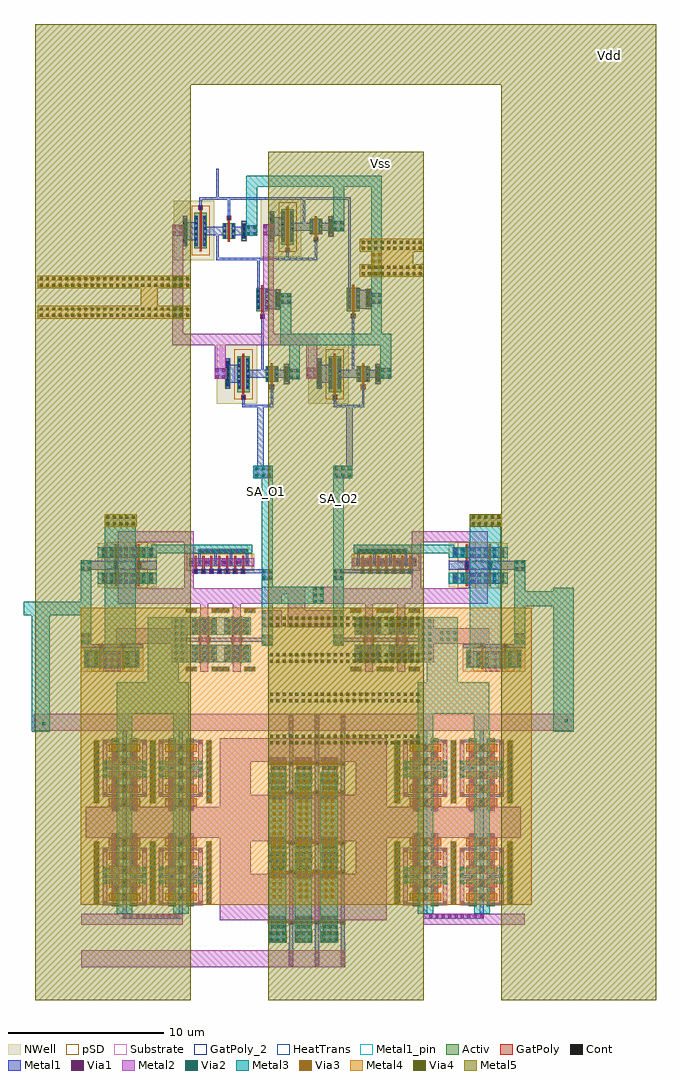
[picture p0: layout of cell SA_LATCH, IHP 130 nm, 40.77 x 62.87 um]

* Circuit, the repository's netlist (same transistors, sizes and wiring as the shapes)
** sch_path: /workspaces/usm-vlsi-tools/shared_xserver/proyecto-IPD413/klayout/LVS/SA_LATCH.sch
.subckt SA_LATCH

M4 Q SA_O1 SA_O2 Vss sg13_lv_nmos l=0.13u w=2.0u ng=2 m=4
M6 SA_O2 SA_O1 Vdd Vdd sg13_lv_pmos l=0.13u w=3.5u ng=7 m=1
M11 SA_O2 CLK Vdd Vdd sg13_lv_pmos l=0.13u w=0.7u ng=1 m=4
M9 Q CLK Vdd Vdd sg13_lv_pmos l=0.13u w=1.0u ng=1 m=2
M3 P SA_O2 SA_O1 Vss sg13_lv_nmos l=0.13u w=2.0u ng=2 m=4
M5 SA_O1 SA_O2 Vdd Vdd sg13_lv_pmos l=0.13u w=3.5u ng=7 m=1
M10 SA_O1 CLK Vdd Vdd sg13_lv_pmos l=0.13u w=0.7u ng=1 m=4
M8 P CLK Vdd Vdd sg13_lv_pmos l=0.13u w=1.0u ng=1 m=2
M1 P Vin1 common Vss sg13_lv_nmos l=0.5u w=2.5u ng=5 m=8
M2 Vss CLK common Vss sg13_lv_nmos l=0.13u w=1.0u ng=1 m=15
M7 Q Vin2 common Vss sg13_lv_nmos l=0.5u w=2.5u ng=5 m=8
x2 Vdd OUT_Latch Vss SA_O1 SA_O2 inv_latch
.ends

* expanding   symbol:  /workspaces/usm-vlsi-tools/shared_xserver/proyecto-IPD413/xschem/sch/inv_latch.sym # of pins=5
** sym_path: /workspaces/usm-vlsi-tools/shared_xserver/proyecto-IPD413/xschem/sch/inv_latch.sym
** sch_path: /workspaces/usm-vlsi-tools/shared_xserver/proyecto-IPD413/xschem/sch/inv_latch.sch
.subckt inv_latch Vdd Vout Vss Vin1 Vin2
*.PININFO Vout:O Vdd:I Vdd:I Vin1:I Vss:I Vss:I Vdd:I Vss:I Vdd:I Vin2:I Vss:I Vss:I
x1 net1 Vout Vdd Vss inv_lv
x2 Vout net1 Vdd Vss inv_lv
M1 Vss net2 net1 Vss sg13_lv_nmos l=0.13u w=1.5u ng=1 m=1
x3 Vin1 net2 Vdd Vss inv_lv
M2 Vss net3 Vout Vss sg13_lv_nmos l=0.13u w=1.5u ng=1 m=1
x4 Vin2 net3 Vdd Vss inv_lv
.ends


* expanding   symbol:  /workspaces/usm-vlsi-tools/shared_xserver/proyecto-IPD413/xschem/sch/inv_lv.sym # of pins=4
** sym_path: /workspaces/usm-vlsi-tools/shared_xserver/proyecto-IPD413/xschem/sch/inv_lv.sym
** sch_path: /workspaces/usm-vlsi-tools/shared_xserver/proyecto-IPD413/xschem/sch/inv_lv.sch
.subckt inv_lv Vin Vout Vdd Vss
*.PININFO Vdd:I Vss:I Vin:I Vout:O
M1 Vout Vin Vss Vss sg13_lv_nmos l=0.13u w=1u ng=1 m=1
M2 Vout Vin Vdd Vdd sg13_lv_pmos l=0.13u w=2.3u ng=1 m=1
.ends

.end

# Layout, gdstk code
from math import pi, radians
import gdstk
lib = gdstk.Library(unit=1e-6, precision=1e-09)
def R(c, l, rs):  # rectangles x0, y0, x1, y1
    for r in rs: c.add(gdstk.rectangle(r[:2], r[2:], *l))
def A(c, l, x, y, w, h, nx, ny, dx, dy):  # array of equal rectangles
    R(c, l, [(x+i*dx, y+j*dy, x+i*dx+w, y+j*dy+h) for i in range(nx) for j in range(ny)])
Activ = (1, 0)
GatPoly = (5, 0)
GatPoly_2 = (5, 2)
Cont = (6, 0)
Metal1 = (8, 0)
Metal1_pin = (8, 2)
Metal2 = (10, 0)
pSD = (14, 0)
Via1 = (19, 0)
Via2 = (29, 0)
Metal3 = (30, 0)
NWell = (31, 0)
Substrate = (40, 0)
Via3 = (49, 0)
Metal4 = (50, 0)
HeatTrans = (51, 0)
Via4 = (66, 0)
Metal5 = (67, 0)

pmos = lib.new_cell('pmos')
A(pmos, Activ, 0, 0, 0.3, 0.3, 8, 1, 0.51, 0)
R(pmos, Activ, [(0,0,3.87,0.5)])
A(pmos, GatPoly, 0.34, -0.18, 0.13, 0.86, 7, 1, 0.51, 0)
R(pmos, GatPoly, [(0.34,-0.18,0.47,0.68)])
A(pmos, Cont, 0.07, 0.17, 0.16, 0.16, 8, 1, 0.51, 0)
A(pmos, Metal1, 0.58, 0, 0.16, 0.5, 7, 1, 0.51, 0)
R(pmos, Metal1, [(0.07,0,0.23,0.5), (0.07,0,0.23,0.5), (0.58,0,0.74,0.5)])
R(pmos, pSD, [(-0.18,-0.3,4.05,0.8)])
R(pmos, NWell, [(-0.31,-0.31,4.18,0.81)])
R(pmos, Substrate, [(3.57,0,3.87,0.3)])
A(pmos, HeatTrans, 0.34, -0.18, 0.13, 0.86, 7, 1, 0.51, 0)
pmos.add(gdstk.Label('pmos', (0.405,0.25), layer=63, texttype=0))
pmos.add(gdstk.Label('pmos', (0.405,0.25), layer=51, texttype=0))
pmos.add(gdstk.Label('pmos', (0.915,0.25), layer=51, texttype=0))
pmos.add(gdstk.Label('pmos', (1.425,0.25), layer=51, texttype=0))
pmos.add(gdstk.Label('pmos', (1.935,0.25), layer=51, texttype=0))
pmos.add(gdstk.Label('pmos', (2.445,0.25), layer=51, texttype=0))
pmos.add(gdstk.Label('pmos', (2.955,0.25), layer=51, texttype=0))
pmos.add(gdstk.Label('pmos', (3.465,0.25), layer=51, texttype=0))

m56 = lib.new_cell('M56')
R(m56, Activ, [(-1.775,0.405,1.445,0.705)])
A(m56, GatPoly, -1.59, 1.715, 0.3, 0.3, 7, 1, 0.51, 0)
A(m56, Cont, -1.52, 1.785, 0.16, 0.16, 7, 1, 0.51, 0)
R(m56, Cont, [(-1.705,0.475,1.375,0.635)])
A(m56, Metal1, -1.775, 0.405, 0.16, 0.63, 4, 1, 1.02, 0)
A(m56, Metal1, -1.33, 1.14, 0.29, 0.29, 4, 1, 1.02, 0)
A(m56, Metal1, -1.57, 1.735, 0.26, 0.26, 7, 1, 0.51, 0)
R(m56, Metal1, [(-1.775,0.405,1.445,0.705), (-2.155,1.735,1.825,1.995)])
R(m56, Metal2, [(1.725,0.165,2.335,2.015), (-1.775,0.405,1.445,0.705), (-2.155,1.035,2.33,1.535)])
A(m56, Via1, -1.725, 0.46, 0.19, 0.19, 8, 1, 0.41, 0)
A(m56, Via1, -1.28, 1.19, 0.19, 0.19, 4, 1, 1.02, 0)
A(m56, Via2, -1.725, 0.46, 0.19, 0.19, 8, 1, 0.41, 0)
R(m56, Metal3, [(-2.015,0.16,2.335,0.705)])
R(m56, NWell, [(-2.015,0.165,1.685,0.725)])
m56.add(gdstk.Reference(pmos, (-1.845,1.035)))

nmos_2 = lib.new_cell('nmos$2')
A(nmos_2, Activ, 0, 0, 0.3, 0.3, 3, 1, 0.51, 0)
R(nmos_2, Activ, [(0,0,1.32,1)])
R(nmos_2, GatPoly, [(0.34,-0.18,0.47,1.18), (0.85,-0.18,0.98,1.18)])
R(nmos_2, GatPoly_2, [(0.34,-0.18,0.47,1.18)])
A(nmos_2, Cont, 0.07, 0.07, 0.16, 0.16, 3, 3, 0.51, 0.35)
A(nmos_2, Metal1, 0.07, 0, 0.16, 1, 3, 1, 0.51, 0)
R(nmos_2, Metal1_pin, [(0.07,0,0.23,1), (0.58,0,0.74,1)])
R(nmos_2, HeatTrans, [(0.34,-0.18,0.47,1.18), (0.85,-0.18,0.98,1.18)])
nmos_2.add(gdstk.Label('nmos', (0.405,0.5), layer=63, texttype=0))
nmos_2.add(gdstk.Label('nmos', (0.405,0.5), layer=51, texttype=0))
nmos_2.add(gdstk.Label('nmos', (0.915,0.5), layer=51, texttype=0))

m34_single = lib.new_cell('M34_single')
R(m34_single, Activ, [(-0.515,-1.19,0.185,-0.89), (1.165,-1.19,1.865,-0.89)])
R(m34_single, GatPoly, [(0.27,0.7,0.57,1), (0.78,0.7,1.08,1)])
R(m34_single, Cont, [(-0.445,-1.12,0.115,-0.96), (1.235,-1.12,1.795,-0.96), (0.34,0.77,0.5,0.93), (0.85,0.77,1.01,0.93)])
A(m34_single, Metal1, -0.135, -0.59, 0.3, 1.11, 3, 1, 0.66, 0)
R(m34_single, Metal1, [(-0.515,-1.19,0.185,-0.89), (1.165,-1.19,1.865,-0.89), (-0.515,0.72,1.865,0.98), (0.29,0.72,0.55,0.98), (0.8,0.72,1.06,0.98)])
R(m34_single, Metal2, [(0.425,-1.2,0.925,1), (-0.515,-1.19,0.185,-0.89), (1.165,-1.19,1.865,-0.89), (-0.135,-0.59,0.165,0.52), (1.185,-0.59,1.485,0.52)])
A(m34_single, Via1, -0.08, -0.54, 0.19, 0.19, 3, 3, 0.66, 0.41)
R(m34_single, Via1, [(-0.465,-1.135,-0.275,-0.945), (-0.055,-1.135,0.135,-0.945), (1.215,-1.135,1.405,-0.945), (1.625,-1.135,1.815,-0.945)])
A(m34_single, Via2, -0.08, -0.54, 0.19, 0.19, 1, 3, 0, 0.41)
A(m34_single, Via2, 1.24, -0.54, 0.19, 0.19, 1, 3, 0, 0.41)
R(m34_single, Via2, [(-0.465,-1.135,-0.275,-0.945), (-0.055,-1.135,0.135,-0.945), (1.215,-1.135,1.405,-0.945), (1.625,-1.135,1.815,-0.945)])
R(m34_single, Metal3, [(-0.515,-1.19,0.185,-0.89), (1.165,-1.19,1.865,-0.89), (-0.515,-0.59,1.485,0.52), (-0.135,-0.59,0.165,0.52), (1.105,-0.59,1.575,0.52)])
R(m34_single, Via3, [(-0.465,-1.135,-0.275,-0.945), (-0.055,-1.135,0.135,-0.945), (1.215,-1.135,1.405,-0.945), (1.625,-1.135,1.815,-0.945)])
R(m34_single, Metal4, [(-0.515,-1.2,0.185,1), (1.165,-1.2,1.865,1), (-0.515,-1.19,0.185,-0.89), (1.165,-1.19,1.865,-0.89)])
m34_single.add(gdstk.Reference(nmos_2, (0.015,-0.48)))

m34 = lib.new_cell('M34')
r = gdstk.Reference(m34_single, (0,0)); r.repetition = gdstk.Repetition(2, 1, v1=(2.09,0), v2=(0,0)); m34.add(r)
r = gdstk.Reference(m34_single, (0,1.7), x_reflection=True); r.repetition = gdstk.Repetition(2, 1, v1=(2.09,0), v2=(0,0)); m34.add(r)

pmos_4 = lib.new_cell('pmos$4')
R(pmos_4, Activ, [(0,0,0.3,0.3), (0,0,0.81,0.7), (0.51,0,0.81,0.3)])
R(pmos_4, GatPoly, [(0.34,-0.18,0.47,0.88), (0.34,-0.18,0.47,0.88)])
R(pmos_4, Cont, [(0.07,0.07,0.23,0.23), (0.58,0.07,0.74,0.23), (0.07,0.47,0.23,0.63), (0.58,0.47,0.74,0.63)])
R(pmos_4, Metal1, [(0.07,0,0.23,0.7), (0.07,0,0.23,0.7), (0.58,0,0.74,0.7), (0.58,0,0.74,0.7)])
R(pmos_4, pSD, [(-0.18,-0.3,0.99,1)])
R(pmos_4, NWell, [(-0.31,-0.31,1.12,1.01)])
R(pmos_4, Substrate, [(0.51,0,0.81,0.3)])
R(pmos_4, HeatTrans, [(0.34,-0.18,0.47,0.88)])
pmos_4.add(gdstk.Label('pmos', (0.405,0.35), layer=63, texttype=0))
pmos_4.add(gdstk.Label('pmos', (0.405,0.35), layer=51, texttype=0))

mab_row = lib.new_cell('Mab_row')
R(mab_row, Activ, [(-2.25,-0.12,-1.95,0.58), (0.78,-0.12,1.08,0.58)])
R(mab_row, GatPoly, [(-1.475,0.76,-1.175,1.06), (0.005,0.76,0.305,1.06)])
R(mab_row, Cont, [(-2.18,-0.05,-2.02,0.51), (0.85,-0.05,1.01,0.51)])
R(mab_row, Metal1, [(-2.25,-0.12,-1.95,0.58), (-2.25,-0.12,-1.5,0.58), (-1.195,-0.12,0.025,0.58), (0.33,-0.12,1.08,0.58), (0.78,-0.12,1.08,0.58), (-2.49,0.78,1.32,1.06), (-1.455,0.78,-1.195,1.04), (0.025,0.78,0.285,1.04)])
R(mab_row, Metal2, [(-1.195,-0.43,0.025,1.06), (-2.25,-0.12,-1.95,0.58), (0.78,-0.12,1.08,0.58)])
A(mab_row, Via1, -1.145, -0.07, 0.19, 0.19, 3, 2, 0.41, 0.41)
R(mab_row, Via1, [(-2.195,-0.07,-2.005,0.12), (0.835,-0.07,1.025,0.12), (-2.195,0.34,-2.005,0.53), (0.835,0.34,1.025,0.53)])
R(mab_row, Via2, [(-2.195,-0.07,-2.005,0.12), (0.835,-0.07,1.025,0.12), (-2.195,0.34,-2.005,0.53), (0.835,0.34,1.025,0.53)])
R(mab_row, Metal3, [(-2.49,-0.12,1.32,0.58), (0.78,-0.12,1.08,0.58)])
R(mab_row, NWell, [(-0.65,-0.43,-0.525,0.89), (-2.49,-0.36,-2.04,0.82), (0.87,-0.36,1.32,0.82)])
r = gdstk.Reference(pmos_4, (-1.73,-0.12)); r.repetition = gdstk.Repetition(2, 1, v1=(1.48,0), v2=(0,0)); mab_row.add(r)

mab = lib.new_cell('Mab')
R(mab, Cont, [(-1.405,0.83,-1.245,1.29), (0.075,0.83,0.235,1.29)])
R(mab, NWell, [(-2.49,0.82,1.32,1.3)])
mab.add(gdstk.Reference(mab_row, (0,0)))
mab.add(gdstk.Reference(mab_row, (0,2.12), x_reflection=True))

pmos_2 = lib.new_cell('pmos$2')
R(pmos_2, Activ, [(0,0,0.3,0.3), (0,0,0.81,1), (0.51,0,0.81,0.3)])
R(pmos_2, GatPoly, [(0.34,-0.18,0.47,1.18), (0.34,-0.18,0.47,1.18)])
A(pmos_2, Cont, 0.07, 0.07, 0.16, 0.16, 1, 3, 0, 0.35)
A(pmos_2, Cont, 0.58, 0.07, 0.16, 0.16, 1, 3, 0, 0.35)
R(pmos_2, Metal1, [(0.07,0,0.23,1), (0.07,0,0.23,1), (0.58,0,0.74,1), (0.58,0,0.74,1)])
R(pmos_2, pSD, [(-0.18,-0.3,0.99,1.3)])
R(pmos_2, NWell, [(-0.31,-0.31,1.12,1.31)])
R(pmos_2, Substrate, [(0.51,0,0.81,0.3)])
R(pmos_2, HeatTrans, [(0.34,-0.18,0.47,1.18)])
pmos_2.add(gdstk.Label('pmos', (0.405,0.5), layer=63, texttype=0))
pmos_2.add(gdstk.Label('pmos', (0.405,0.5), layer=51, texttype=0))

m89 = lib.new_cell('M89')
R(m89, Activ, [(-1.875,-0.005,-1.575,0.995), (1.375,-0.005,1.675,0.995)])
R(m89, GatPoly, [(-0.99,1.17,-0.69,1.47), (0.49,1.17,0.79,1.47)])
R(m89, Cont, [(-1.805,0.065,-1.645,0.925), (1.445,0.065,1.605,0.925), (-0.92,1.24,-0.76,1.4), (0.56,1.24,0.72,1.4)])
R(m89, Metal1, [(-0.665,-0.12,0.465,0.99), (-1.875,-0.08,-1.575,1.07), (1.375,-0.08,1.675,1.07), (-1.875,-0.01,-1.015,0.99), (0.765,-0.01,1.615,0.99), (-2.115,1.19,1.915,1.45), (-0.97,1.19,-0.71,1.45), (0.51,1.19,0.77,1.45)])
R(m89, Metal2, [(-0.665,-0.31,0.465,1.47), (-1.875,-0.08,-1.575,1.07), (1.375,-0.08,1.675,1.07)])
A(m89, Via1, -0.615, -0.07, 0.19, 0.19, 3, 3, 0.41, 0.41)
A(m89, Via1, -1.82, -0.01, 0.19, 0.19, 1, 3, 0, 0.41)
A(m89, Via1, 1.43, -0.01, 0.19, 0.19, 1, 3, 0, 0.41)
A(m89, Via2, -1.82, -0.01, 0.19, 0.19, 1, 3, 0, 0.41)
A(m89, Via2, 1.43, -0.01, 0.19, 0.19, 1, 3, 0, 0.41)
R(m89, Metal3, [(-1.875,-0.08,-1.575,1.07), (-1.575,-0.08,1.375,1.07), (1.375,-0.08,1.675,1.07)])
R(m89, NWell, [(-2.115,-0.32,-1.555,1.3), (-0.15,-0.32,-0.05,1.3), (1.355,-0.32,1.915,1.3)])
r = gdstk.Reference(pmos_2, (-1.245,-0.01)); r.repetition = gdstk.Repetition(2, 1, v1=(1.48,0), v2=(0,0)); m89.add(r)

sa_upper = lib.new_cell('SA_upper')
R(sa_upper, Metal1, [(8.7,1.355,9.16,2.055), (9.11,1.355,9.4,2.055), (-2.97,1.45,-2.68,2.15), (-2.73,1.45,-2.27,2.15), (8.285,1.6,8.7,1.86), (8.7,5.565,9.16,6.265), (9.11,5.565,9.4,6.265), (8.215,6.005,8.7,6.265), (-2.97,6.15,-2.68,6.85), (-2.73,6.15,-2.27,6.85), (-2.27,6.24,-1.86,6.8)])
R(sa_upper, Metal2, [(2.915,0.29,3.915,3.17), (8.7,1.355,9.16,2.055), (9.11,1.355,9.4,2.055), (-2.97,1.45,-2.68,2.15), (-2.73,1.45,-2.27,2.15), (-0.665,1.47,3.915,2.47), (8.7,2.53,10,3.64), (4.755,3.78,5.255,4.03), (6.845,3.78,7.345,4.03), (-0.565,4.03,10,5.03), (8.7,4.03,10,5.14), (3.725,5.03,4.335,5.985), (8.7,5.565,9.16,6.265), (9.11,5.565,9.4,6.265), (-2.97,6.15,-2.68,6.85), (-2.73,6.15,-2.27,6.85), (3.725,7.835,4.335,8.71), (-0.565,8.01,4.335,8.71)])
R(sa_upper, Via1, [(8.75,1.405,8.94,1.595), (9.16,1.405,9.35,1.595), (-2.92,1.5,-2.73,1.69), (-2.51,1.5,-2.32,1.69), (8.75,1.815,8.94,2.005), (9.16,1.815,9.35,2.005), (-2.92,1.91,-2.73,2.1), (-2.51,1.91,-2.32,2.1), (8.75,5.615,8.94,5.805), (9.16,5.615,9.35,5.805), (8.75,6.025,8.94,6.215), (9.16,6.025,9.35,6.215), (-2.92,6.2,-2.73,6.39), (-2.51,6.2,-2.32,6.39), (-2.92,6.61,-2.73,6.8), (-2.51,6.61,-2.32,6.8)])
A(sa_upper, Via2, 3.09, 0.8, 0.19, 0.19, 1, 6, 0, 0.41)
A(sa_upper, Via2, 3.5, 0.8, 0.19, 0.19, 1, 6, 0, 0.41)
A(sa_upper, Via2, 8.75, 2.58, 0.19, 0.19, 1, 3, 0, 0.41)
A(sa_upper, Via2, 9.16, 2.58, 0.19, 0.19, 1, 3, 0, 0.41)
R(sa_upper, Via2, [(3.09,0.39,3.28,0.58), (3.5,0.39,3.69,0.58), (3.09,0.8,3.28,0.99), (3.5,0.8,3.69,0.99), (8.75,1.405,8.94,1.595), (9.16,1.405,9.35,1.595), (-2.92,1.5,-2.73,1.69), (-2.51,1.5,-2.32,1.69), (8.75,1.815,8.94,2.005), (9.16,1.815,9.35,2.005), (-2.92,1.91,-2.73,2.1), (-2.51,1.91,-2.32,2.1), (8.75,5.615,8.94,5.805), (9.16,5.615,9.35,5.805), (8.75,6.025,8.94,6.215), (9.16,6.025,9.35,6.215), (-2.92,6.2,-2.73,6.39), (-2.51,6.2,-2.32,6.39), (-2.92,6.61,-2.73,6.8), (-2.51,6.61,-2.32,6.8)])
R(sa_upper, Metal3, [(1.365,-1.025,3.37,3.17), (-1.41,-0.08,0.59,9), (2.915,0.29,3.915,3.17), (8.7,1.355,9.16,2.055), (9.11,1.355,9.4,2.055), (-2.97,1.45,-2.68,2.15), (-2.97,1.45,-2.27,6.15), (-2.73,1.45,-2.27,2.15), (8.7,2.055,9.4,8.99), (8.7,5.565,9.16,6.265), (9.11,5.565,9.4,6.265), (-2.97,6.15,-2.68,6.85), (-2.73,6.15,-2.27,6.85), (1.59,7.295,3.725,7.84)])
sa_upper.add(gdstk.Reference(m56, (6.06,8), rotation=pi))
sa_upper.add(gdstk.Reference(m34, (4.33,0.88)))
sa_upper.add(gdstk.Reference(mab, (0.63,5.46)))
sa_upper.add(gdstk.Reference(m89, (-0.855,0)))

nmos = lib.new_cell('nmos')
R(nmos, Activ, [(0,0,0.3,0.3), (0,0,0.81,1), (0.51,0,0.81,0.3)])
R(nmos, GatPoly, [(0.34,-0.18,0.47,1.18)])
R(nmos, GatPoly_2, [(0.34,-0.18,0.47,1.18)])
A(nmos, Cont, 0.07, 0.07, 0.16, 0.16, 1, 3, 0, 0.35)
A(nmos, Cont, 0.58, 0.07, 0.16, 0.16, 1, 3, 0, 0.35)
R(nmos, Metal1, [(0.07,0,0.23,1), (0.58,0,0.74,1)])
R(nmos, Metal1_pin, [(0.07,0,0.23,1), (0.58,0,0.74,1)])
R(nmos, HeatTrans, [(0.34,-0.18,0.47,1.18)])
nmos.add(gdstk.Label('nmos', (0.405,0.5), layer=63, texttype=0))
nmos.add(gdstk.Label('nmos', (0.405,0.5), layer=51, texttype=0))

m7_single = lib.new_cell('M7_single')
R(m7_single, Activ, [(-1.725,0.53,-1.085,1.51)])
R(m7_single, GatPoly, [(-0.62,1.69,-0.32,1.99)])
A(m7_single, Cont, -1.655, 0.6, 0.16, 0.16, 1, 3, 0, 0.34)
A(m7_single, Cont, -1.315, 0.6, 0.16, 0.16, 1, 3, 0, 0.34)
R(m7_single, Cont, [(-1.655,1.28,-1.495,1.44), (-0.55,1.76,-0.39,1.92)])
R(m7_single, Metal1, [(-1.755,0.395,-1.055,1.505), (-0.35,0.41,-0.055,1.52), (-1.055,0.55,-0.645,1.49), (-1.765,1.71,-0.6,1.97), (-0.6,1.71,-0.34,1.97), (-0.34,1.71,1.15,1.97)])
R(m7_single, Metal2, [(-1.755,0.395,-1.055,1.505), (-0.35,0.41,1.15,1.52)])
R(m7_single, pSD, [(-1.755,0.5,-1.055,1.54)])
A(m7_single, Via1, -1.705, 0.445, 0.19, 0.19, 1, 3, 0, 0.41)
A(m7_single, Via1, -1.295, 0.445, 0.19, 0.19, 1, 3, 0, 0.41)
A(m7_single, Via1, -0.295, 0.46, 0.19, 0.19, 1, 3, 0, 0.41)
A(m7_single, Via2, -1.705, 0.445, 0.19, 0.19, 1, 3, 0, 0.41)
A(m7_single, Via2, -1.295, 0.445, 0.19, 0.19, 1, 3, 0, 0.41)
R(m7_single, Metal3, [(-1.755,0.395,-1.055,1.505)])
m7_single.add(gdstk.Reference(nmos, (-0.875,0.51)))

m7_row = lib.new_cell('M7_row')
r = gdstk.Reference(m7_single, (1.82,0)); r.repetition = gdstk.Repetition(2, 1, v1=(5.11,0), v2=(0,0)); m7_row.add(r)
r = gdstk.Reference(m7_single, (9.23,0), rotation=pi, x_reflection=True); r.repetition = gdstk.Repetition(3, 1, v1=(-5.11,0), v2=(0,0)); m7_row.add(r)

c_m7 = lib.new_cell('M7')
R(c_m7, Metal2, [(-2.14,-0.77,-0.64,5.99), (1.47,-0.77,4.47,5.99), (6.58,-0.77,9.58,5.99)])
A(c_m7, Metal3, 0.055, 0.395, 10.96, 1.11, 1, 3, 0, 1.66)
r = gdstk.Reference(m7_row, (0,0)); r.repetition = gdstk.Repetition(1, 3, v1=(0,0), v2=(0,1.66)); c_m7.add(r)

nmos_1 = lib.new_cell('nmos$1')
A(nmos_1, Activ, 0, 0, 0.3, 0.3, 6, 1, 0.88, 0)
R(nmos_1, Activ, [(0,0,4.7,0.5)])
A(nmos_1, GatPoly, 0.34, -0.18, 0.5, 0.86, 5, 1, 0.88, 0)
R(nmos_1, GatPoly_2, [(0.34,-0.18,0.84,0.68)])
A(nmos_1, Cont, 0.07, 0.17, 0.16, 0.16, 6, 1, 0.88, 0)
A(nmos_1, Metal1, 0.07, 0, 0.16, 0.5, 6, 1, 0.88, 0)
R(nmos_1, Metal1_pin, [(0.07,0,0.23,0.5), (0.95,0,1.11,0.5)])
A(nmos_1, HeatTrans, 0.34, -0.18, 0.5, 0.86, 5, 1, 0.88, 0)
nmos_1.add(gdstk.Label('nmos', (0.59,0.25), layer=63, texttype=0))
nmos_1.add(gdstk.Label('nmos', (0.59,0.25), layer=51, texttype=0))
nmos_1.add(gdstk.Label('nmos', (1.47,0.25), layer=51, texttype=0))
nmos_1.add(gdstk.Label('nmos', (2.35,0.25), layer=51, texttype=0))
nmos_1.add(gdstk.Label('nmos', (3.23,0.25), layer=51, texttype=0))
nmos_1.add(gdstk.Label('nmos', (4.11,0.25), layer=51, texttype=0))

m12_single = lib.new_cell('M12_single')
R(m12_single, Activ, [(-1.275,-1.22,2.725,-0.92)])
A(m12_single, GatPoly, -1.085, 0.595, 0.5, 0.3, 5, 1, 0.88, 0)
A(m12_single, Cont, -1.015, 0.665, 0.36, 0.16, 5, 1, 0.88, 0)
R(m12_single, Cont, [(-1.205,-1.15,2.655,-0.99)])
A(m12_single, Metal1, -1.355, -0.675, 0.16, 0.59, 3, 1, 1.76, 0)
A(m12_single, Metal1, -0.54, 0.02, 0.29, 0.29, 3, 1, 1.76, 0)
A(m12_single, Metal1, -1.065, 0.615, 0.46, 0.26, 5, 1, 0.88, 0)
R(m12_single, Metal1, [(-1.275,-1.22,2.725,-0.92), (-1.355,-0.675,-1.065,-0.385), (0.405,-0.675,0.695,-0.385), (2.035,-0.675,2.325,-0.385), (-1.925,0.615,3.975,0.875)])
R(m12_single, Metal2, [(-1.275,-1.22,2.725,-0.92), (-1.355,-0.675,2.325,-0.385), (-1.355,-0.675,-1.065,-0.385), (0.405,-0.675,0.695,-0.385), (2.035,-0.675,2.325,-0.385), (-0.54,-0.085,3.975,0.415)])
R(m12_single, pSD, [(-1.305,-1.25,2.755,-0.89)])
A(m12_single, Via1, -1.23, -1.165, 0.19, 0.19, 10, 1, 0.41, 0)
A(m12_single, Via1, -0.49, 0.07, 0.19, 0.19, 3, 1, 1.76, 0)
R(m12_single, Via1, [(-1.305,-0.625,-1.115,-0.435), (0.455,-0.625,0.645,-0.435), (2.085,-0.625,2.275,-0.435)])
A(m12_single, Via2, -1.23, -1.165, 0.19, 0.19, 10, 1, 0.41, 0)
A(m12_single, Via2, 0.045, -0.625, 0.19, 0.19, 3, 1, 0.41, 0)
R(m12_single, Metal3, [(-1.275,-1.22,2.725,-0.92), (-0.005,-0.675,1.105,-0.385), (0.05,-0.675,1.05,0.895)])
A(m12_single, Via3, -1.23, -1.165, 0.19, 0.19, 10, 1, 0.41, 0)
R(m12_single, Metal4, [(-1.275,-1.22,2.725,-0.92)])
m12_single.add(gdstk.Reference(nmos_1, (-1.425,-0.085)))

m12__col = lib.new_cell('M12__col')
R(m12__col, Metal3, [(-1.925,0.245,3.975,1.245), (-1.925,3.875,3.975,4.875)])
r = gdstk.Reference(m12_single, (0,0)); r.repetition = gdstk.Repetition(1, 2, v1=(0,0), v2=(0,3.63)); m12__col.add(r)
r = gdstk.Reference(m12_single, (0,5.12), x_reflection=True); r.repetition = gdstk.Repetition(1, 2, v1=(0,0), v2=(0,-3.63)); m12__col.add(r)

m12 = lib.new_cell('M12')
R(m12, Metal2, [(2.975,-1.75,4.975,6.87)])
m12.add(gdstk.Reference(m12__col, (0,0)))
m12.add(gdstk.Reference(m12__col, (7.95,0), rotation=pi, x_reflection=True))

m3_m4 = lib.new_cell('M3-M4')
R(m3_m4, Metal3, [(-0.76,-0.065,-0.35,0.345)])
R(m3_m4, Via3, [(-0.65,0.045,-0.46,0.235)])
R(m3_m4, Metal4, [(-0.76,-0.065,-0.35,0.345)])

sa_lower = lib.new_cell('SA_lower')
A(sa_lower, Metal1, -0.635, -12.745, 0.29, 1.61, 3, 2, 1.66, 14.745)
R(sa_lower, Metal1, [(-11.355,-9.6,-7.465,-9.3), (8.025,-9.6,11.915,-9.3)])
R(sa_lower, Metal2, [(-14,-12.745,2.975,-11.635), (-14,-10,-7.465,-9.3), (8.025,-10,14.56,-9.3), (-5.1,-9.72,-3.1,2), (3.66,-9.72,5.66,2), (-11.355,-9.6,-7.465,-9.3), (8.025,-9.6,11.915,-9.3), (-14,2.5,14.56,3.61)])
A(sa_lower, Via1, -0.585, -12.695, 0.19, 0.19, 3, 3, 1.66, 0.41)
A(sa_lower, Via1, -11.305, -9.545, 0.19, 0.19, 9, 1, 0.41, 0)
A(sa_lower, Via1, 8.395, -9.545, 0.19, 0.19, 9, 1, 0.41, 0)
A(sa_lower, Via1, -0.585, 2.55, 0.19, 0.19, 3, 3, 1.66, 0.41)
R(sa_lower, Metal3, [(-11.725,2.5,-10.725,3.61), (-8.095,2.5,-7.095,3.61), (7.655,2.5,8.655,3.61), (11.28,2.5,12.28,3.61)])
sa_lower.add(gdstk.Reference(c_m7, (-2.33,-0.14), rotation=3*pi/2))
r = gdstk.Reference(m12, (-11.97,0.575), rotation=3*pi/2); r.repetition = gdstk.Repetition(1, 2, v1=(0,0), v2=(19.38,0)); sa_lower.add(r)
r = gdstk.Reference(m3_m4, (-1.04,-7.635), rotation=pi/2); r.repetition = gdstk.Repetition(20, 2, v1=(0,0.41), v2=(-0.41,0)); sa_lower.add(r)
r = gdstk.Reference(m3_m4, (-0.06,-0.265), rotation=pi); r.repetition = gdstk.Repetition(2, 20, v1=(-0.41,0), v2=(0,-0.41)); sa_lower.add(r)
r = gdstk.Reference(m3_m4, (1.605,-0.26), rotation=pi); r.repetition = gdstk.Repetition(2, 20, v1=(-0.41,0), v2=(0,-0.41)); sa_lower.add(r)

m2_m3 = lib.new_cell('M2-M3')
R(m2_m3, Metal2, [(-1.19,-0.15,-0.78,0.26)])
R(m2_m3, Via2, [(-1.08,-0.04,-0.89,0.15)])
R(m2_m3, Metal3, [(-1.19,-0.15,-0.78,0.26)])

c_sa = lib.new_cell('SA')
R(c_sa, Metal2, [(25.405,-4.145,28.685,-3.025), (-6.105,-4.12,-2.755,-3.03), (10,2.53,11.205,3.64), (11.205,2.53,12.315,5.14), (10,4.03,10.7,5.14), (12.315,4.65,12.7,5.14)])
A(c_sa, Via2, 10.05, 4.08, 0.19, 0.19, 1, 3, 0, 0.41)
A(c_sa, Via2, 10.46, 4.08, 0.19, 0.19, 1, 3, 0, 0.41)
R(c_sa, Metal3, [(27.65,-4.205,28.82,4.045), (-6.105,-4.195,-4.765,5.09), (-0.67,-3.025,3.955,-1.025), (18.705,-3.025,23.33,-1.025), (25.445,3.3,29.34,4.17), (-5.165,3.87,-2.58,4.865), (10,4.03,13.3,5.14)])
c_sa.add(gdstk.Reference(sa_upper, (0,0)))
c_sa.add(gdstk.Reference(sa_upper, (22.7,0), rotation=pi, x_reflection=True))
c_sa.add(gdstk.Reference(sa_lower, (11.61,-6.635), rotation=pi, x_reflection=True))
r = gdstk.Reference(m2_m3, (1.415,2.23), rotation=pi); r.repetition = gdstk.Repetition(3, 2, v1=(-0.41,0), v2=(0,-0.41)); c_sa.add(r)
c_sa.add(gdstk.Reference(m2_m3, (27.07,-3.625), rotation=pi))
c_sa.add(gdstk.Reference(m2_m3, (-6.605,-3.45), rotation=pi))
c_sa.add(gdstk.Label('P', (-0.405,-1.915), layer=30, texttype=25))
c_sa.add(gdstk.Label('Q', (18.82,-1.975), layer=30, texttype=25))
c_sa.add(gdstk.Label('CLK', (-2.67,4.935), layer=30, texttype=25))
c_sa.add(gdstk.Label('CLK', (25.27,4.82), layer=30, texttype=25))
c_sa.add(gdstk.Label('Vout2', (9.22,5.34), layer=30, texttype=25))
c_sa.add(gdstk.Label('Vout1', (13.335,5.365), layer=30, texttype=25))
c_sa.add(gdstk.Label('CLK', (-2.645,-3.37), layer=10, texttype=25))
c_sa.add(gdstk.Label('Vin1', (-2.64,-16.37), layer=10, texttype=25))
c_sa.add(gdstk.Label('Vin2', (25.245,-16.205), layer=10, texttype=25))
c_sa.add(gdstk.Label('common', (6.9,-4.66), layer=10, texttype=25))

inv_cell = lib.new_cell('INV_CELL')
R(inv_cell, Activ, [(-2.1,2.04,-1.29,4.34), (-0.835,2.17,-0.535,4.13), (-0.835,2.17,-0.535,4.13), (-4.63,2.66,-4.33,3.66), (-3.925,2.66,-3.115,3.66)])
R(inv_cell, GatPoly, [(-1.76,1.86,-1.63,4.52), (-3.585,2.48,-3.455,3.84), (-3.67,3.84,-3.37,4.14), (-1.845,4.52,-1.545,4.82)])
A(inv_cell, Cont, -2.03, 2.22, 0.16, 0.16, 1, 4, 0, 0.34)
A(inv_cell, Cont, -1.52, 2.22, 0.16, 0.16, 1, 4, 0, 0.34)
A(inv_cell, Cont, -3.855, 2.74, 0.16, 0.16, 1, 3, 0, 0.34)
A(inv_cell, Cont, -3.345, 2.74, 0.16, 0.16, 1, 3, 0, 0.34)
A(inv_cell, Cont, -2.03, 3.24, 0.16, 0.16, 1, 3, 0, 0.34)
A(inv_cell, Cont, -1.52, 3.24, 0.16, 0.16, 1, 3, 0, 0.34)
R(inv_cell, Cont, [(-2.03,2.22,-1.87,2.38), (-1.52,2.22,-1.36,2.38), (-0.765,2.35,-0.605,3.95), (-0.765,2.35,-0.605,3.95), (-4.56,2.73,-4.4,3.59), (-3.855,3.42,-3.695,3.58), (-3.345,3.42,-3.185,3.58), (-3.6,3.91,-3.44,4.07), (-1.775,4.59,-1.615,4.75)])
R(inv_cell, Metal1, [(-2.03,2.17,-1.87,3.24), (-1.52,2.17,-1.36,3.24), (-0.815,2.17,-0.555,4.13), (-0.815,2.17,-0.555,4.13), (-4.63,2.53,-4.33,3.79), (-1.36,2.56,-0.815,3.74), (-3.855,2.69,-3.695,3.63), (-3.345,2.69,-3.185,3.63), (-4.33,2.9,-3.855,3.42), (-3.185,2.9,-2.03,3.42), (-2.03,3.19,-1.87,4.13), (-1.52,3.19,-1.36,4.13), (-3.6,3.86,-3.44,5.32), (-1.775,4.54,-1.615,5.32), (-3.6,5.16,-1.775,5.32)])
R(inv_cell, Metal1_pin, [(-4.63,2.53,-4.33,3.79)])
R(inv_cell, pSD, [(-2.28,1.59,-1.11,4.79), (-4.66,2.5,-4.3,3.82)])
R(inv_cell, NWell, [(-2.58,1.28,0.035,5.1)])

nmos_switch = lib.new_cell('nmos_switch')
R(nmos_switch, Activ, [(-1.115,-0.12,-0.285,1.38), (-1.835,0.115,-1.535,1.115)])
R(nmos_switch, GatPoly, [(-0.755,-0.3,-0.625,1.56), (-0.84,1.55,-0.54,1.85)])
A(nmos_switch, Cont, -1.045, 0, 0.16, 0.16, 1, 4, 0, 0.34)
A(nmos_switch, Cont, -0.515, 0, 0.16, 0.16, 1, 4, 0, 0.34)
R(nmos_switch, Cont, [(-1.765,0.185,-1.605,1.045), (-1.045,1.02,-0.885,1.18), (-0.515,1.02,-0.355,1.18), (-0.77,1.62,-0.61,1.78)])
R(nmos_switch, Metal1, [(-1.045,-0.07,-0.885,1.23), (-0.515,-0.07,-0.355,1.23), (-1.835,0,-1.535,1.235), (-1.535,0,-1.045,1.23), (-0.77,1.57,-0.61,5.165)])
R(nmos_switch, Metal1_pin, [(-1.835,0,-1.535,1.235)])
R(nmos_switch, pSD, [(-1.865,-0.045,-1.505,1.275)])

sr_latch = lib.new_cell('SR_LATCH')
R(sr_latch, Metal1, [(0.72,-5.005,1.42,-4.305), (0.72,-5.005,1.42,-4.305), (5.545,-4.395,6.245,-3.695), (5.545,-4.395,6.245,-3.695), (6.525,-2.375,12.39,-2.215), (12.23,-2.375,12.39,5.375), (10.205,-1.96,10.905,-1.26), (10.205,-1.96,10.905,-1.26), (0.72,-0.23,1.42,0.47), (0.72,-0.23,1.42,0.47), (10.77,0.545,12.28,0.705), (0.67,0.885,1.37,1.585), (0.67,0.885,1.37,1.585), (5.515,1.455,6.215,2.155), (5.515,1.455,6.215,2.155), (8.35,1.64,8.51,6.285), (9.955,2.555,10.655,3.255), (9.955,2.555,10.655,3.255), (6.5,3.475,8.35,3.635), (6.5,3.475,8.35,3.635), (9.915,3.645,10.615,4.345), (9.915,3.645,10.615,4.345), (0.7,5.66,1.4,6.36), (0.7,5.66,1.4,6.36), (8.46,6.125,9.97,6.285), (9.94,8.415,10.64,9.115), (9.94,8.415,10.64,9.115)])
R(sr_latch, Metal2, [(0.72,-5.005,1.42,-4.305), (0.72,-5.005,1.42,-4.305), (5.545,-4.395,6.245,-3.695), (5.545,-4.395,6.245,-3.695), (10.205,-1.96,10.905,-1.26), (10.205,-1.96,10.905,-1.26), (0.72,-0.23,1.42,0.47), (0.72,-0.23,3.6,0.47), (2.875,-0.23,3.6,9.115), (0.67,0.885,1.37,1.585), (0.67,0.885,1.37,1.585), (5.515,1.455,6.215,2.155), (5.515,1.455,6.215,2.155), (3.6,2.555,10.655,3.255), (9.955,2.555,10.655,3.255), (9.915,3.645,10.615,4.345), (9.915,3.645,10.615,4.345), (0.7,5.66,1.4,6.36), (0.7,5.66,3.6,6.36), (2.93,8.415,10.64,9.115), (9.94,8.415,10.64,9.115)])
R(sr_latch, Via1, [(0.77,-4.955,0.96,-4.765), (0.77,-4.955,0.96,-4.765), (1.18,-4.955,1.37,-4.765), (1.18,-4.955,1.37,-4.765), (0.77,-4.545,0.96,-4.355), (0.77,-4.545,0.96,-4.355), (1.18,-4.545,1.37,-4.355), (1.18,-4.545,1.37,-4.355), (5.595,-4.345,5.785,-4.155), (5.595,-4.345,5.785,-4.155), (6.005,-4.345,6.195,-4.155), (6.005,-4.345,6.195,-4.155), (5.595,-3.935,5.785,-3.745), (5.595,-3.935,5.785,-3.745), (6.005,-3.935,6.195,-3.745), (6.005,-3.935,6.195,-3.745), (10.255,-1.91,10.445,-1.72), (10.255,-1.91,10.445,-1.72), (10.665,-1.91,10.855,-1.72), (10.665,-1.91,10.855,-1.72), (10.255,-1.5,10.445,-1.31), (10.255,-1.5,10.445,-1.31), (10.665,-1.5,10.855,-1.31), (10.665,-1.5,10.855,-1.31), (0.77,-0.18,0.96,0.01), (0.77,-0.18,0.96,0.01), (1.18,-0.18,1.37,0.01), (1.18,-0.18,1.37,0.01), (0.77,0.23,0.96,0.42), (0.77,0.23,0.96,0.42), (1.18,0.23,1.37,0.42), (1.18,0.23,1.37,0.42), (0.72,0.935,0.91,1.125), (0.72,0.935,0.91,1.125), (1.13,0.935,1.32,1.125), (1.13,0.935,1.32,1.125), (0.72,1.345,0.91,1.535), (0.72,1.345,0.91,1.535), (1.13,1.345,1.32,1.535), (1.13,1.345,1.32,1.535), (5.565,1.505,5.755,1.695), (5.565,1.505,5.755,1.695), (5.975,1.505,6.165,1.695), (5.975,1.505,6.165,1.695), (5.565,1.915,5.755,2.105), (5.565,1.915,5.755,2.105), (5.975,1.915,6.165,2.105), (5.975,1.915,6.165,2.105), (10.005,2.605,10.195,2.795), (10.005,2.605,10.195,2.795), (10.415,2.605,10.605,2.795), (10.415,2.605,10.605,2.795), (10.005,3.015,10.195,3.205), (10.005,3.015,10.195,3.205), (10.415,3.015,10.605,3.205), (10.415,3.015,10.605,3.205), (9.965,3.695,10.155,3.885), (9.965,3.695,10.155,3.885), (10.375,3.695,10.565,3.885), (10.375,3.695,10.565,3.885), (9.965,4.105,10.155,4.295), (9.965,4.105,10.155,4.295), (10.375,4.105,10.565,4.295), (10.375,4.105,10.565,4.295), (0.75,5.71,0.94,5.9), (0.75,5.71,0.94,5.9), (1.16,5.71,1.35,5.9), (1.16,5.71,1.35,5.9), (0.75,6.12,0.94,6.31), (1.16,6.12,1.35,6.31), (1.16,6.12,1.35,6.31), (9.99,8.465,10.18,8.655), (9.99,8.465,10.18,8.655), (10.4,8.465,10.59,8.655), (10.4,8.465,10.59,8.655), (9.99,8.875,10.18,9.065), (9.99,8.875,10.18,9.065), (10.4,8.875,10.59,9.065), (10.4,8.875,10.59,9.065)])
R(sr_latch, Via2, [(0.77,-4.955,0.96,-4.765), (0.77,-4.955,0.96,-4.765), (1.18,-4.955,1.37,-4.765), (1.18,-4.955,1.37,-4.765), (0.77,-4.545,0.96,-4.355), (0.77,-4.545,0.96,-4.355), (1.18,-4.545,1.37,-4.355), (1.18,-4.545,1.37,-4.355), (5.595,-4.345,5.785,-4.155), (5.595,-4.345,5.785,-4.155), (6.005,-4.345,6.195,-4.155), (6.005,-4.345,6.195,-4.155), (5.595,-3.935,5.785,-3.745), (5.595,-3.935,5.785,-3.745), (6.005,-3.935,6.195,-3.745), (6.005,-3.935,6.195,-3.745), (10.255,-1.91,10.445,-1.72), (10.255,-1.91,10.445,-1.72), (10.665,-1.91,10.855,-1.72), (10.665,-1.91,10.855,-1.72), (10.255,-1.5,10.445,-1.31), (10.255,-1.5,10.445,-1.31), (10.665,-1.5,10.855,-1.31), (10.665,-1.5,10.855,-1.31), (0.72,0.935,0.91,1.125), (0.72,0.935,0.91,1.125), (1.13,0.935,1.32,1.125), (1.13,0.935,1.32,1.125), (0.72,1.345,0.91,1.535), (0.72,1.345,0.91,1.535), (1.13,1.345,1.32,1.535), (1.13,1.345,1.32,1.535), (5.565,1.505,5.755,1.695), (5.565,1.505,5.755,1.695), (5.975,1.505,6.165,1.695), (5.975,1.505,6.165,1.695), (5.565,1.915,5.755,2.105), (5.565,1.915,5.755,2.105), (5.975,1.915,6.165,2.105), (5.975,1.915,6.165,2.105), (9.965,3.695,10.155,3.885), (9.965,3.695,10.155,3.885), (10.375,3.695,10.565,3.885), (10.375,3.695,10.565,3.885), (9.965,4.105,10.155,4.295), (9.965,4.105,10.155,4.295), (10.375,4.105,10.565,4.295), (10.375,4.105,10.565,4.295), (4.695,8.465,4.885,8.655), (5.105,8.465,5.295,8.655), (4.695,8.875,4.885,9.065), (5.105,8.875,5.295,9.065)])
R(sr_latch, Metal3, [(0.72,-5.005,1.42,-4.305), (0.72,-5.005,3.6,-4.305), (2.88,-5.005,3.6,2.155), (3.105,-4.395,13.78,-3.695), (5.545,-4.395,6.245,-3.695), (13.09,-4.395,13.78,4.345), (10.205,-1.96,10.905,-1.26), (10.205,-1.96,13.78,-1.26), (0.67,0.885,1.37,1.585), (0.67,0.885,3.595,1.585), (2.88,1.455,6.215,2.155), (5.515,1.455,6.215,2.155), (9.915,3.645,10.615,4.345), (9.915,3.645,13.78,4.345), (4.645,8.415,5.345,9.115)])
A(sr_latch, Via3, 7.38, -4.345, 0.19, 0.19, 4, 2, 0.41, 0.41)
R(sr_latch, Via3, [(4.695,8.465,4.885,8.655), (5.105,8.465,5.295,8.655), (4.695,8.875,4.885,9.065), (5.105,8.875,5.295,9.065)])
R(sr_latch, Metal4, [(7.28,-6.425,8.9,-3.695), (4.595,8.415,5.395,11.145)])
sr_latch.add(gdstk.Reference(inv_cell, (4.19,6.215), rotation=pi/2))
sr_latch.add(gdstk.Reference(inv_cell, (4.19,0.325), rotation=pi/2))
sr_latch.add(gdstk.Reference(nmos_switch, (6.435,3.99), rotation=pi/2))
sr_latch.add(gdstk.Reference(nmos_switch, (6.455,-1.86), rotation=pi/2))
sr_latch.add(gdstk.Reference(inv_cell, (13.67,3.37), rotation=pi/2))
sr_latch.add(gdstk.Reference(inv_cell, (7.07,8.975), rotation=pi/2, x_reflection=True))
sr_latch.add(gdstk.Label('VDD', (5.195,10.57), layer=50, texttype=25))

sr_top = lib.new_cell('SR_top')
R(sr_top, Metal1, [(-17.955,3.3,-14.2,3.71), (-17.945,9.03,-14.2,9.44), (-0.68,11.915,1.17,12.075)])
R(sr_top, Via2, [(-6.43,14.275,-6.24,14.465), (-6.02,14.275,-5.83,14.465), (-6.43,14.685,-6.24,14.875), (-6.02,14.685,-5.83,14.875)])
R(sr_top, Metal3, [(-6.48,14.225,-5.78,14.925)])
R(sr_top, Via3, [(-6.43,14.275,-6.24,14.465), (-6.02,14.275,-5.83,14.465), (-6.43,14.685,-6.24,14.875), (-6.02,14.685,-5.83,14.875)])
R(sr_top, Metal4, [(-6.53,14.225,-5.73,16.955), (-7.675,15.86,-6.53,16.955)])
sr_top.add(gdstk.Reference(sr_latch, (-13.07,5.81)))
sr_top.add(gdstk.Label('VDD', (-5.99,16.305), layer=50, texttype=25))
sr_top.add(gdstk.Label('OUT_Latch', (0.955,11.99), layer=8, texttype=25))

m4_m5 = lib.new_cell('M4-M5')
R(m4_m5, Metal4, [(-0.595,-0.045,-0.185,0.365)])
R(m4_m5, Via4, [(-0.485,0.065,-0.295,0.255)])
R(m4_m5, Metal5, [(-0.595,-0.045,-0.185,0.365)])

sa_latch = lib.new_cell('SA_LATCH')
R(sa_latch, Metal1, [(-11.485,22.95,-10.255,23.78), (-6.355,22.95,-5.125,23.78)])
A(sa_latch, Metal2, -6.355, 22.95, 0.41, 0.41, 3, 2, 0.41, 0.41)
R(sa_latch, Metal2, [(-11.485,22.95,-10.255,23.77), (-6.355,22.95,-5.125,23.77)])
A(sa_latch, Via1, -11.375, 23.06, 0.19, 0.19, 3, 2, 0.41, 0.41)
A(sa_latch, Via1, -6.245, 23.06, 0.19, 0.19, 3, 2, 0.41, 0.41)
A(sa_latch, Via2, -6.245, 23.06, 0.19, 0.19, 3, 2, 0.41, 0.41)
A(sa_latch, Metal3, -21.07, 19.83, 0.41, 0.41, 5, 2, 0.41, 0.41)
A(sa_latch, Metal3, -6.355, 22.95, 0.41, 0.41, 3, 2, 0.41, 0.41)
R(sa_latch, Metal3, [(-10.955,19.82,-10.255,23.77), (-6.355,19.82,-5.655,23.77)])
A(sa_latch, Via3, -20.96, 19.94, 0.19, 0.19, 5, 2, 0.41, 0.41)
A(sa_latch, Metal4, -21.07, 19.83, 0.41, 0.41, 5, 2, 0.41, 0.41)
R(sa_latch, Metal4, [(-22.6,-4.5,6.43,14.61)])
A(sa_latch, Via4, -20.96, 19.94, 0.19, 0.19, 5, 2, 0.41, 0.41)
A(sa_latch, Via4, 2.565, 19.94, 0.19, 0.19, 5, 2, 0.41, 0.41)
R(sa_latch, Via4, [(-20.96,20.35,-20.77,20.54), (2.565,20.35,2.755,20.54)])
R(sa_latch, Metal5, [(-25.53,-10.65,-15.53,52.22), (-10.53,-10.65,-0.53,44.005), (4.47,-10.65,14.47,52.22), (-21.07,19.83,-19.02,20.65), (2.455,19.83,4.505,20.65), (-25.53,48.32,14.47,52.22)])
sa_latch.add(gdstk.Reference(c_sa, (3.045,10.83), rotation=pi, x_reflection=True))
r = gdstk.Reference(m2_m3, (-10.295,23.1)); r.repetition = gdstk.Repetition(3, 2, v1=(0.41,0), v2=(0,0.41)); sa_latch.add(r)
sa_latch.add(gdstk.Reference(sr_top, (-1.8,41.725), rotation=pi/2))
r = gdstk.Reference(m3_m4, (3.215,19.895)); r.repetition = gdstk.Repetition(5, 2, v1=(0.41,0), v2=(0,0.41)); sa_latch.add(r)
r = gdstk.Reference(m4_m5, (-9.935,8.48)); r.repetition = gdstk.Repetition(24, 2, v1=(0.41,0), v2=(0,0.41)); sa_latch.add(r)
r = gdstk.Reference(m4_m5, (-9.935,11.025)); r.repetition = gdstk.Repetition(24, 2, v1=(0.41,0), v2=(0,0.41)); sa_latch.add(r)
r = gdstk.Reference(m4_m5, (-9.935,13.36)); r.repetition = gdstk.Repetition(24, 2, v1=(0.41,0), v2=(0,0.41)); sa_latch.add(r)
r = gdstk.Reference(m4_m5, (-9.935,5.765)); r.repetition = gdstk.Repetition(24, 2, v1=(0.41,0), v2=(0,0.41)); sa_latch.add(r)
r = gdstk.Reference(m4_m5, (-1.125,36.71), rotation=pi); r.repetition = gdstk.Repetition(10, 2, v1=(-0.41,0), v2=(0,-0.41)); sa_latch.add(r)
r = gdstk.Reference(m4_m5, (-1.125,38.335), rotation=pi); r.repetition = gdstk.Repetition(10, 2, v1=(-0.41,0), v2=(0,-0.41)); sa_latch.add(r)
r = gdstk.Reference(m4_m5, (-16.125,34.02), rotation=pi); r.repetition = gdstk.Repetition(24, 2, v1=(-0.41,0), v2=(0,-0.41)); sa_latch.add(r)
r = gdstk.Reference(m4_m5, (-16.125,35.97), rotation=pi); r.repetition = gdstk.Repetition(24, 2, v1=(-0.41,0), v2=(0,-0.41)); sa_latch.add(r)
sa_latch.add(gdstk.Label('SA_O2', (-5.97,21.65), layer=30, texttype=25))
sa_latch.add(gdstk.Label('SA_O1', (-10.615,22.1), layer=30, texttype=25))
sa_latch.add(gdstk.Label('Vss', (-3.33,43.265), layer=67, texttype=25))
sa_latch.add(gdstk.Label('Vdd', (11.455,50.185), layer=67, texttype=25))

lib.write_gds('SA_LATCH.gds')
